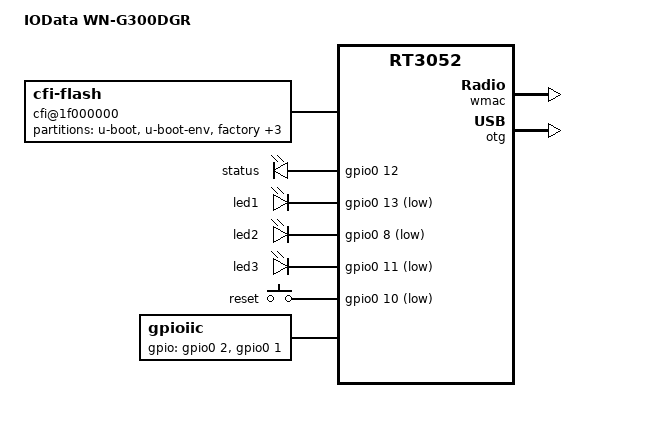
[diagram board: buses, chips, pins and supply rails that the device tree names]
/dts-v1/;

#include "rt3050.dtsi"

/ {
	compatible = "WN-G300DGR", "ralink,rt3052-soc";
	model = "IOData WN-G300DGR";

	cfi@1f000000 {
		compatible = "cfi-flash";
		reg = <0x1f000000 0x400000>;
		bank-width = <2>;
		device-width = <2>;
		#address-cells = <1>;
		#size-cells = <1>;

		partition@0 {
			label = "u-boot";
			reg = <0x0 0x50000>;
			read-only;
		};

		partition@30000 {
			label = "u-boot-env";
			reg = <0x30000 0x10000>;
			read-only;
		};

		factory: partition@40000 {
			label = "factory";
			reg = <0x40000 0x10000>;
			read-only;
		};
/*
		partition@50000 {
			label = "firmware";
			reg = <0x00050000 0x003b0000>;
			read-only;
		};
*/
		partition@50000 {
			label = "kernel";
			reg = <0x00050000 0x00110000>;
			read-only;
		};

		partition@160000 {
			label = "rootfs";
			reg = <0x00160000 0x002a0000>;
			read-only;
		};

		partition@800000 {
			label = "upgrade";
			reg = <0x00050000 0x003b0000>;
		};

	};

	/* gpio 7 connect reset */

	gpio-leds {
		compatible = "gpio-leds";

		status {
			label = "status";
			gpios = <&gpio0 12 0>;
		};

		led1 {
			label = "led1";
			gpios = <&gpio0 13 1>;
		};

		led2 {
			label = "led2";
			gpios = <&gpio0 8 1>;
		};

		led3 {
			label = "led3";
			gpios = <&gpio0 11 1>;
		};

	};

	gpio-keys-polled {
		compatible = "gpio-keys-polled";
		#address-cells = <1>;
		#size-cells = <0>;
		poll-interval = <20>;

		reset {
			label = "reset";
			gpios = <&gpio0 10 1>;
			linux,code = <0x198>;
		};

	};

        gpioiic {
                compatible = "gpioiic";
                gpios = <&gpio0 2 0
                        &gpio0 1 0>;
                gpio-names = "scl", "sda";
        };

        rtl8366rb {
                compatible = "realtek,rtl8366rb";
        };

};

&pinctrl {
	state_default: pinctrl0 {
		gpio {
			ralink,group = "i2c", "jtag", "uartf";
			ralink,function = "gpio";
		};

		rgmii {
			ralink,group = "rgmii";
			ralink,function = "rgmii";
		};

		mdio {
			ralink,group = "mdio";
			ralink,function = "mdio";
		};
	};
};

&ethernet {
	mtd-mac-address = <&factory 0x28>;
};

&esw {
	ralink,noreset = <1>;

	mediatek,portmap = <0x2f>;

	/* same as WL-351.dts */
	ralink,fct2 = <0x0002500c>;
	ralink,fpa2 = <0x1f003fff>;
};

&wmac {
	ralink,mtd-eeprom = <&factory 0>;
};

&otg {
	status = "okay";
};

